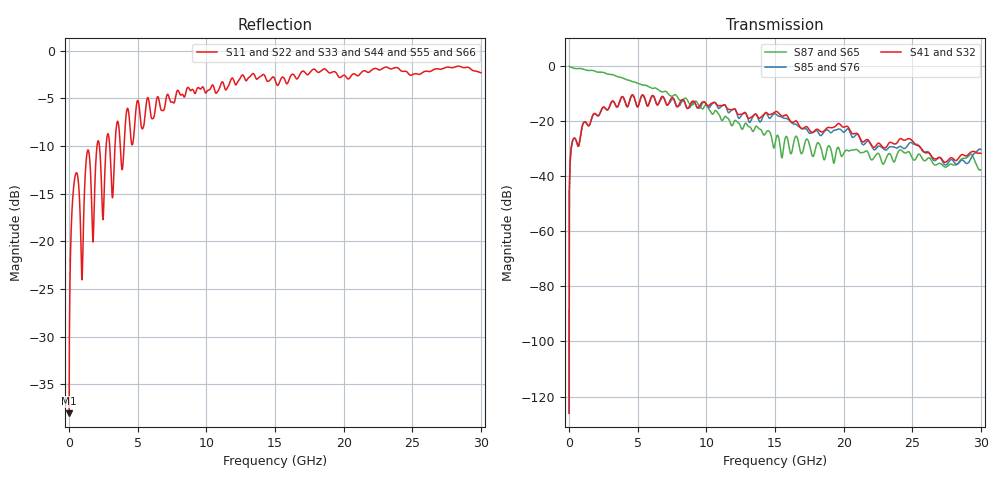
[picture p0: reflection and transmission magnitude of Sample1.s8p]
! NPort=8 DATA=1601 NOISE=0 GROUPDELAY=0
! NumOfBlock=1 NumOfParam=0
! .MODEL Smodel S TSTONEFILE=./sample1.s8p TYPE=S
! + FBASE=  FMAX=
!  -- The above .MODEL line can be used for the S element in the netlist.
# Hz S RI R  50.0000
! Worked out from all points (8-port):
!   1601 points, 1 Hz to 30 GHz, reference 50 ohm
!   strongest paths, dB at 1 Hz, 7.5 GHz, 15 GHz, 22.5 GHz, 30 GHz:
!     S41: -126.0, -11.6, -16.7, -28.1, -31.8
!     S32: -126.0, -11.6, -16.7, -28.1, -31.8
!     S85: -126.1, -12.0, -17.4, -29.2, -30.4
!     S76: -126.1, -12.0, -17.4, -29.2, -30.4
!     S87: -0.1, -11.0, -28.5, -31.7, -37.7
!     S65: -0.1, -11.0, -28.5, -31.7, -37.7
!   lowest |S11| = -38.1 dB at 1 Hz (marker M1), VSWR 1.03, Z = 51.3 + j0.000233 ohm
!   |S11| at or under -10 dB: start of sweep to 2.032 GHz; 2.208 GHz to 2.697 GHz (488.4 MHz wide, 19.9 % of centre); 2.958 GHz to 3.343 GHz (385.1 MHz wide, 12.2 % of centre)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
